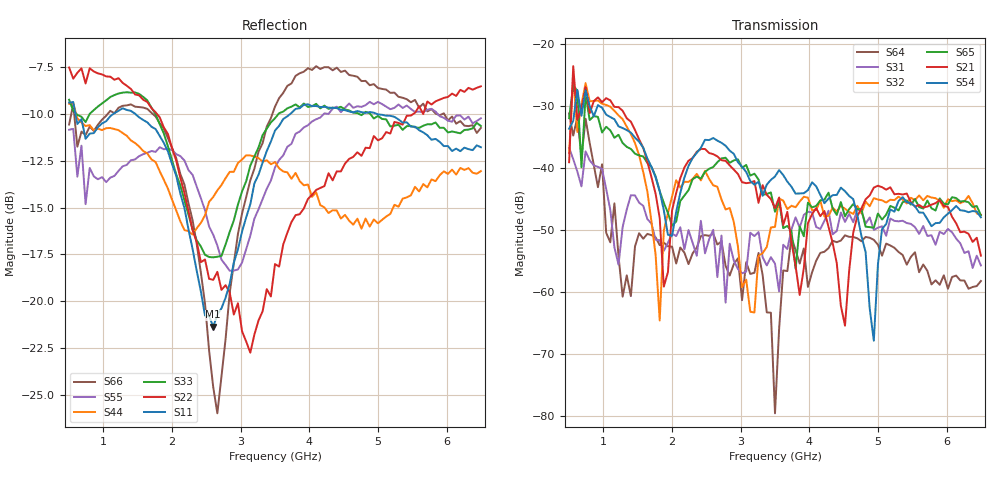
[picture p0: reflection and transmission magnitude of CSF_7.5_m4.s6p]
!Keysight Technologies,M9804A,MY58100912,A.14.10.03
!Date: Thursday, April 27, 2023 10:28:33
!Correction: S11(C  6-Port  )
!S12(C  6-Port  )
!S13(C  6-Port  )
!S14(C  6-Port  )
!S15(C  6-Port  )
!S16(C  6-Port  )
!S21(C  6-Port  )
!S22(C  6-Port  )
!S23(C  6-Port  )
!S24(C  6-Port  )
!S25(C  6-Port  )
!S26(C  6-Port  )
!S31(C  6-Port  )
!S32(C  6-Port  )
!S33(C  6-Port  )
!S34(C  6-Port  )
!S35(C  6-Port  )
!S36(C  6-Port  )
!S41(C  6-Port  )
!S42(C  6-Port  )
!S43(C  6-Port  )
!S44(C  6-Port  )
!S45(C  6-Port  )
!S46(C  6-Port  )
!S51(C  6-Port  )
!S52(C  6-Port  )
!S53(C  6-Port  )
!S54(C  6-Port  )
!S55(C  6-Port  )
!S56(C  6-Port  )
!S61(C  6-Port  )
!S62(C  6-Port  )
!S63(C  6-Port  )
!S64(C  6-Port  )
!S65(C  6-Port  )
!S66(C  6-Port  )
!S6P File: Measurement: :
# Hz S  RI  R 50
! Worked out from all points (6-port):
!   101 points, 500 MHz to 6.5 GHz, reference 50 ohm
!   strongest paths, dB at 500 MHz, 2 GHz, 3.5 GHz, 5 GHz, 6.5 GHz:
!     S54: -33.7, -50.9, -41.4, -55.5, -48.0
!     S21: -39.1, -46.8, -46.5, -42.9, -54.1
!     S65: -32.0, -49.3, -47.0, -47.3, -47.6
!     S32: -37.6, -44.6, -49.5, -45.1, -47.5
!     S31: -36.8, -50.6, -55.4, -49.6, -55.7
!     S64: -31.2, -52.7, -79.5, -52.4, -58.2
!   lowest |S11| = -21.4 dB at 2.6 GHz (marker M1), VSWR 1.19, Z = 42.4 + j2.29 ohm
!   |S11| at or under -10 dB: 593.3 MHz to 1.139 GHz (546 MHz wide, 63 % of centre); 1.469 GHz to 3.717 GHz (2.248 GHz wide, 86.7 % of centre); 4.995 GHz to end of sweep
